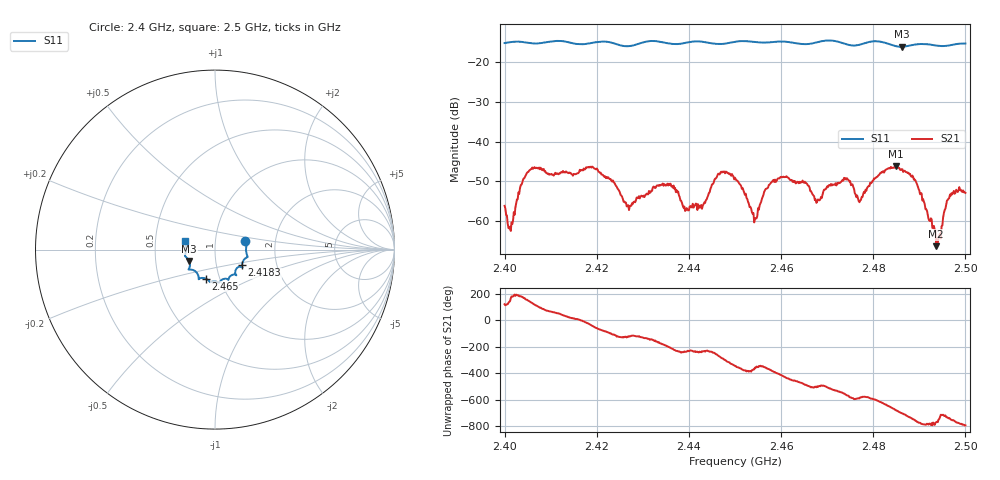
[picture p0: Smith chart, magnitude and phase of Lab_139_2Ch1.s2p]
# Hz S RI R 50
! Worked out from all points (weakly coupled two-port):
!   601 points, 2.4 GHz to 2.5 GHz, reference 50 ohm
!   highest |S21| = -46.23 dB at 2.485 GHz (marker M1); lowest = -66.4 dB at 2.4937 GHz (marker M2)
!   lowest |S11| = -16.1 dB at 2.4862 GHz (marker M3), VSWR 1.37, Z = 37.2 - j4.83 ohm
!   |S11| at or under -10 dB: start of sweep to end of sweep
!   S12 and S22 are empty: the file has one direction only
!   S11 on the Smith chart (normalised r, x): 2.4 GHz: 1.40, +0.14; 2.4183 GHz: 1.33, -0.24; 2.465 GHz: 0.86, -0.29; 2.5 GHz: 0.71, +0.07
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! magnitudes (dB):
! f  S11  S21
! 2.4 GHz  -15.1  -56.2
! 2.4013 GHz  -14.9  -62.6
! 2.406 GHz  -15.2  -46.6
! 2.4167 GHz  -15.4  -47.2
! 2.4183 GHz  -15.2  -46.6
! 2.427 GHz  -15.9  -57.3
! 2.4333 GHz  -14.7  -51.0
! 2.4397 GHz  -15.0  -57.1
! 2.45 GHz  -14.8  -49.1
! 2.4543 GHz  -14.9  -59.4
! 2.4582 GHz  -14.9  -49.9
! 2.465 GHz  -15.4  -50.4
! 2.4667 GHz  -15.2  -52.9
! 2.4742 GHz  -15.4  -49.6
! 2.4772 GHz  -15.5  -54.9
! 2.4833 GHz  -15.3  -46.7
! 2.485 GHz  -15.9  -46.2
! 2.4862 GHz  -16.1  -47.0
! 2.489 GHz  -15.5  -49.6
! 2.4937 GHz  -15.8  -66.4
! 2.4965 GHz  -15.7  -54.2
! 2.5 GHz  -15.2  -52.9
